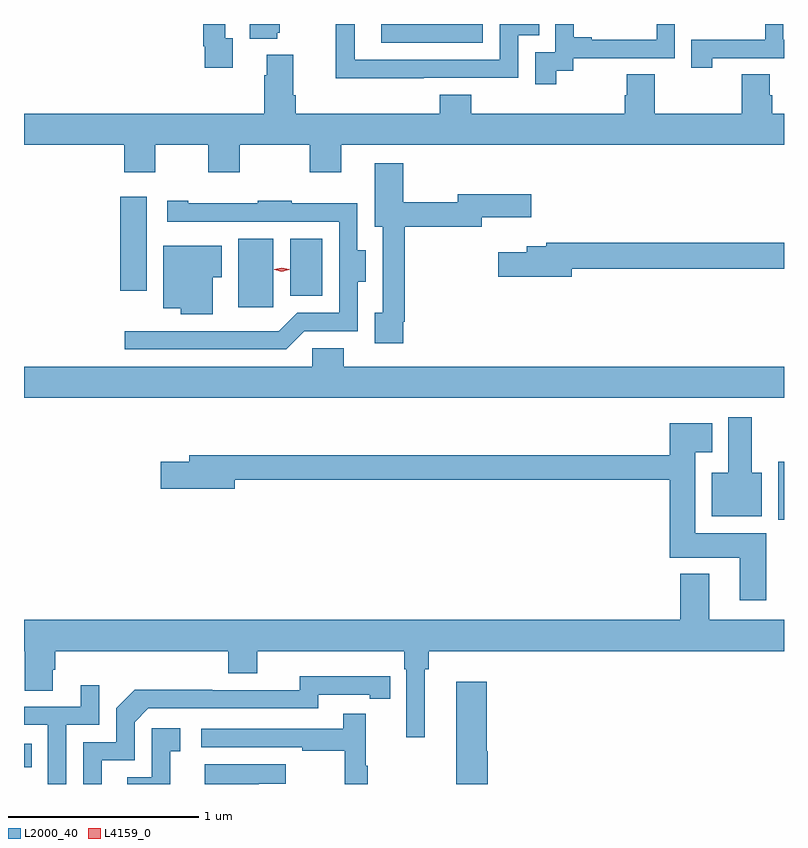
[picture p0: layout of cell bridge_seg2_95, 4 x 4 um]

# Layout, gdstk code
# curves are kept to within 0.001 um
import gdstk
lib = gdstk.Library(unit=1e-6, precision=1e-09)
def R(c, l, rs):  # rectangles x0, y0, x1, y1
    for r in rs: c.add(gdstk.rectangle(r[:2], r[2:], *l))
def P(c, l, *ps):  # polygons
    for p in ps: c.add(gdstk.Polygon(p, *l))
L2000_40 = (2000, 40)
L4159_0 = (4159, 0)

bridge_seg2_95 = lib.new_cell('bridge_seg2_95')
R(bridge_seg2_95, L2000_40, [(302.478,591.081,302.519,591.204), (306.449,592.382,306.478,592.687), (303.605,593.502,303.79,593.863), (303.878,593.561,304.048,593.863), (302.984,593.589,303.124,594.082)])
P(bridge_seg2_95, L2000_40, [(303.577,594.918),(303.537,594.918),(303.537,594.992),(303.421,594.992),(303.421,594.874),(303.429,594.874),(303.429,594.762),(303.577,594.762)],
  [(305.278,594.745),(305.37,594.745),(305.37,594.813),(305.904,594.813),(305.904,594.992),(305.808,594.992),(305.808,594.909),(305.467,594.909),(305.467,594.922),(305.372,594.922),(305.372,594.992),(305.274,594.992),(305.274,594.843),(305.169,594.843),(305.169,594.675),(305.278,594.675)],
  [(304.583,594.708),(305.079,594.708),(305.079,594.933),(305.189,594.933),(305.189,594.992),(304.983,594.992),(304.983,594.804),(304.219,594.804),(304.219,594.992),(304.12,594.992),(304.12,594.707),(304.583,594.707)],
  [(304.893,594.992),(304.797,594.992),(304.797,594.99),(304.359,594.99),(304.359,594.894),(304.893,594.894)],
  [(306.1,594.813),(306.478,594.813),(306.478,594.909),(306.474,594.909),(306.474,594.992),(306.378,594.992),(306.378,594.909),(305.989,594.909),(305.989,594.762),(306.1,594.762)],
  [(303.812,594.945),(303.823,594.945),(303.823,594.992),(303.665,594.992),(303.665,594.914),(303.812,594.914)],
  [(303.169,594.356),(303.449,594.356),(303.449,594.213),(303.613,594.213),(303.613,594.356),(303.983,594.356),(303.983,594.213),(304.147,594.213),(304.147,594.356),(306.478,594.356),(306.478,594.52),(306.416,594.52),(306.416,594.618),(306.403,594.618),(306.403,594.728),(306.256,594.728),(306.256,594.52),(305.799,594.52),(305.799,594.728),(305.651,594.728),(305.651,594.618),(305.639,594.618),(305.639,594.52),(304.832,594.52),(304.832,594.619),(304.667,594.619),(304.667,594.52),(303.908,594.52),(303.908,594.616),(303.895,594.616),(303.895,594.829),(303.755,594.829),(303.755,594.722),(303.743,594.722),(303.743,594.52),(302.478,594.52),(302.478,594.356),(303.005,594.356),(303.005,594.213),(303.169,594.213)],
  [(304.474,593.425),(304.481,593.425),(304.481,593.926),(304.888,593.926),(304.888,593.975),(305.149,593.975),(305.149,594.097),(304.76,594.097),(304.76,594.055),(304.475,594.055),(304.475,594.259),(304.325,594.259),(304.325,593.924),(304.365,593.924),(304.365,593.473),(304.325,593.473),(304.325,593.313),(304.474,593.313)],
  [(303.954,593.376),(304.234,593.376),(304.234,593.636),(304.276,593.636),(304.276,593.8),(304.233,593.8),(304.233,594.049),(303.887,594.049),(303.887,594.061),(303.709,594.061),(303.709,594.049),(303.343,594.049),(303.343,594.061),(303.231,594.061),(303.231,593.952),(304.137,593.952),(304.137,593.472),(303.915,593.472),(303.819,593.376),(303.009,593.376),(303.009,593.28),(303.858,593.28)],
  [(305.362,593.704),(306.478,593.704),(306.478,593.84),(305.227,593.84),(305.227,593.821),(305.123,593.821),(305.123,593.791),(304.974,593.791),(304.974,593.662),(305.362,593.662)],
  [(303.472,593.66),(303.52,593.66),(303.52,593.824),(303.212,593.824),(303.212,593.495),(303.302,593.495),(303.302,593.465),(303.472,593.465)],
  [(306.478,593.188),(304.16,593.188),(304.16,593.286),(303.996,593.286),(303.996,593.188),(302.478,593.188),(302.478,593.024),(306.478,593.024)],
  [(306.361,592.63),(306.307,592.63),(306.307,592.921),(306.185,592.921),(306.185,592.63),(306.098,592.63),(306.098,592.4),(306.361,592.4)],
  [(306.385,592.312),(306.01,592.312),(306.01,592.739),(306.1,592.739),(306.1,592.891),(305.876,592.891),(305.876,592.723),(303.347,592.723),(303.347,592.689),(303.198,592.689),(303.198,592.547),(303.586,592.547),(303.586,592.594),(305.876,592.594),(305.876,592.184),(306.245,592.184),(306.245,591.96),(306.385,591.96)],
  [(304.588,591.596),(304.607,591.596),(304.607,591.692),(306.478,591.692),(306.478,591.856),(306.085,591.856),(306.085,592.099),(305.933,592.099),(305.933,591.856),(302.478,591.856),(302.478,591.692),(302.482,591.692),(302.482,591.484),(302.629,591.484),(302.629,591.594),(302.642,591.594),(302.642,591.692),(303.554,591.692),(303.554,591.575),(303.706,591.575),(303.706,591.692),(304.478,591.692),(304.478,591.596),(304.491,591.596),(304.491,591.237),(304.588,591.237)],
  [(302.887,591.117),(303.06,591.117),(303.06,591.318),(303.132,591.39),(304.026,591.39),(304.026,591.462),(304.298,591.462),(304.298,591.442),(304.406,591.442),(304.406,591.558),(303.93,591.559),(303.93,591.486),(303.47,591.486),(303.47,591.488),(303.062,591.488),(302.964,591.39),(302.964,591.213),(302.79,591.213),(302.79,590.992),(302.887,590.992)],
  [(304.918,591.165),(304.913,591.165),(304.913,591.529),(304.754,591.529),(304.754,590.992),(304.918,590.992)],
  [(302.7,591.303),(302.874,591.303),(302.874,591.511),(302.777,591.511),(302.777,591.399),(302.478,591.399),(302.478,591.303),(302.604,591.303),(302.604,590.992),(302.7,590.992)],
  [(304.288,591.089),(304.277,591.089),(304.277,591.361),(304.159,591.361),(304.159,591.282),(303.411,591.282),(303.411,591.186),(303.943,591.186),(303.943,591.166),(304.167,591.166),(304.167,590.992),(304.288,590.992)],
  [(303.248,591.165),(303.301,591.165),(303.301,591.286),(303.15,591.286),(303.15,591.027),(303.021,591.027),(303.021,590.992),(303.248,590.992)],
  [(303.713,590.993),(303.856,590.993),(303.856,591.097),(303.428,591.097),(303.428,590.992),(303.713,590.992)])
P(bridge_seg2_95, L4159_0, [(303.834,593.689),(303.795,593.699),(303.794,593.699),(303.795,593.7),(303.834,593.709),(303.874,593.7),(303.875,593.699),(303.874,593.699)])

lib.write_gds('bridge_seg2_95.gds')
